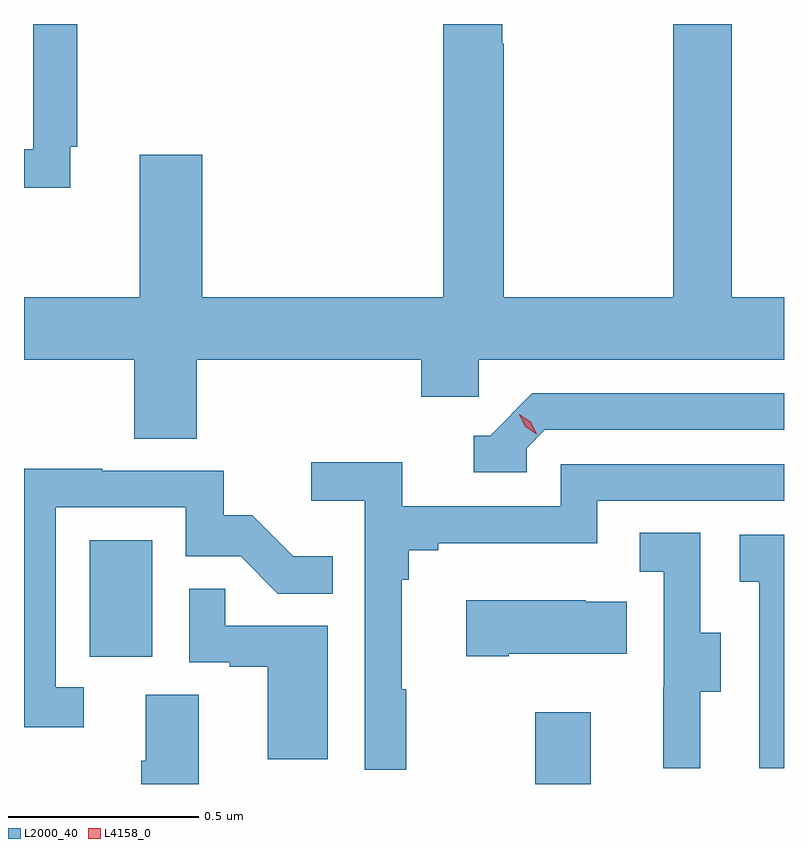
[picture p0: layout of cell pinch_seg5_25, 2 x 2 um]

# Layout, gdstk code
import gdstk
lib = gdstk.Library(unit=1e-6, precision=1e-09)
def R(c, l, rs):  # rectangles x0, y0, x1, y1
    for r in rs: c.add(gdstk.rectangle(r[:2], r[2:], *l))
def P(c, l, *ps):  # polygons
    for p in ps: c.add(gdstk.Polygon(p, *l))
L2000_40 = (2000, 40)
L4158_0 = (4158, 0)

pinch_seg5_25 = lib.new_cell('pinch_seg5_25')
R(pinch_seg5_25, L2000_40, [(1143.07,910.255,1143.217,910.444), (1141.898,910.59,1142.062,910.897)])
P(pinch_seg5_25, L2000_40, [(1141.847,911.932),(1141.865,911.932),(1141.865,912.255),(1141.749,912.255),(1141.749,911.925),(1141.725,911.925),(1141.725,911.824),(1141.847,911.824)],
  [(1142.18,911.372),(1142.771,911.372),(1142.771,911.274),(1142.922,911.274),(1142.922,911.372),(1143.725,911.372),(1143.725,911.536),(1143.588,911.536),(1143.588,912.255),(1143.433,912.255),(1143.433,911.536),(1142.988,911.536),(1142.988,912.203),(1142.983,912.203),(1142.983,912.255),(1142.828,912.255),(1142.828,911.536),(1142.194,911.536),(1142.194,911.911),(1142.03,911.911),(1142.03,911.536),(1141.725,911.536),(1141.725,911.372),(1142.015,911.372),(1142.015,911.164),(1142.18,911.164)],
  [(1143.048,911.139),(1143.096,911.187),(1143.725,911.187),(1143.725,911.283),(1143.063,911.283),(1142.952,911.172),(1142.909,911.172),(1142.909,911.076),(1143.048,911.076)],
  [(1142.731,910.505),(1142.719,910.505),(1142.719,910.793),(1142.738,910.793),(1142.738,910.87),(1142.815,910.87),(1142.815,910.889),(1143.234,910.889),(1143.234,911.001),(1143.725,911.001),(1143.725,911.097),(1143.138,911.097),(1143.138,910.986),(1142.72,910.986),(1142.72,911.102),(1142.481,911.102),(1142.481,911),(1142.622,911),(1142.622,910.293),(1142.731,910.293)],
  [(1141.882,910.509),(1141.809,910.509),(1141.809,910.983),(1142.151,910.983),(1142.151,910.854),(1142.295,910.854),(1142.393,910.756),(1142.537,910.756),(1142.537,910.855),(1142.433,910.855),(1142.326,910.962),(1142.25,910.962),(1142.25,911.079),(1141.931,911.079),(1141.931,911.084),(1141.725,911.084),(1141.725,910.404),(1141.882,910.404)],
  [(1143.505,910.498),(1143.559,910.498),(1143.559,910.653),(1143.504,910.653),(1143.504,910.916),(1143.345,910.916),(1143.345,910.813),(1143.408,910.813),(1143.408,910.509),(1143.407,910.509),(1143.407,910.296),(1143.505,910.296)],
  [(1143.725,910.911),(1143.609,910.911),(1143.609,910.787),(1143.66,910.787),(1143.66,910.296),(1143.725,910.296)],
  [(1142.524,910.671),(1142.255,910.671),(1142.255,910.769),(1142.16,910.769),(1142.16,910.575),(1142.267,910.575),(1142.267,910.563),(1142.366,910.563),(1142.366,910.32),(1142.524,910.32)],
  [(1143.001,910.598),(1143.311,910.598),(1143.311,910.735),(1143.203,910.735),(1143.203,910.738),(1142.889,910.738),(1142.889,910.591),(1143.001,910.591)],
  [(1142.185,910.49),(1142.045,910.49),(1142.045,910.316),(1142.033,910.316),(1142.033,910.255),(1142.185,910.255)])
P(pinch_seg5_25, L4158_0, [(1143.074,911.175),(1143.044,911.195),(1143.028,911.228),(1143.028,911.228),(1143.028,911.228),(1143.059,911.208),(1143.074,911.175),(1143.074,911.175)])

lib.write_gds('pinch_seg5_25.gds')
